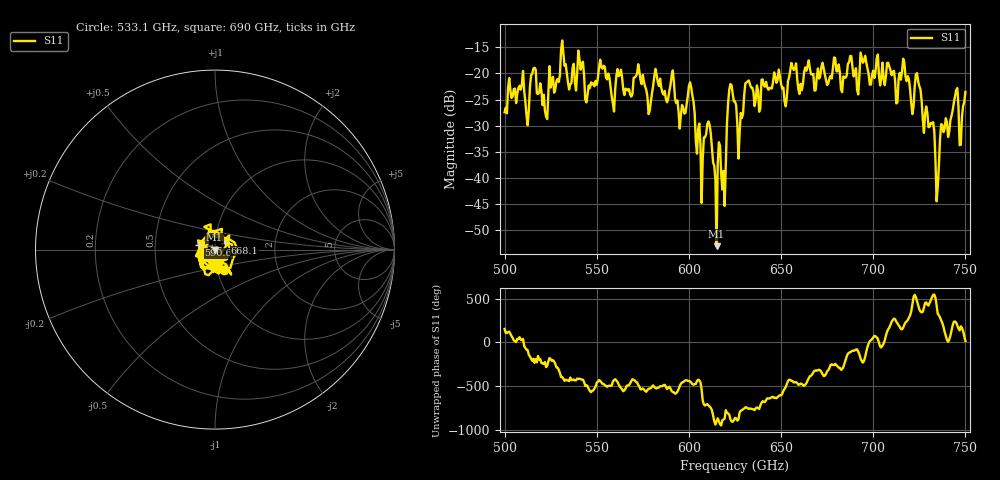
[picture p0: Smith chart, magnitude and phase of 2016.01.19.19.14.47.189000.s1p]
!Created with skrf (http://scikit-rf.org).
# GHz S RI R 50.0
!freq ReS11 ImS11
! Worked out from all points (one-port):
!   401 points, 500 GHz to 750 GHz, reference 50 ohm
!   lowest |S11| = -53.1 dB at 615 GHz (marker M1), VSWR 1.00, Z = 49.8 + j0.0195 ohm
!   |S11| at or under -10 dB: start of sweep to end of sweep
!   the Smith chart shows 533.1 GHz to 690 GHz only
!   S11 on the Smith chart (normalised r, x): 533.1 GHz: 1.08, -0.25; 590.6 GHz: 0.83, +0.05; 668.1 GHz: 1.12, +0.09; 690 GHz: 0.98, -0.20
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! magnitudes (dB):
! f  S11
! 500 GHz  -27.4
! 512.5 GHz  -29.9
! 515.6 GHz  -19.0
! 521.9 GHz  -27.1
! 531.2 GHz  -13.7
! 533.1 GHz  -18.2
! 562.5 GHz  -20.3
! 590.6 GHz  -20.5
! 593.8 GHz  -25.2
! 601.2 GHz  -22.7
! 605.6 GHz  -29.6
! 610.6 GHz  -29.2
! 615 GHz  -53.1
! 618.8 GHz  -38.7
! 622.5 GHz  -22.0
! 625 GHz  -25.4
! 627.5 GHz  -31.5
! 631.9 GHz  -21.5
! 651.9 GHz  -25.3
! 656.2 GHz  -18.8
! 668.1 GHz  -23.3
! 687.5 GHz  -16.6
! 690 GHz  -20.1
! 718.8 GHz  -20.5
! 724.4 GHz  -21.5
! 735 GHz  -41.8
! 738.1 GHz  -31.3
! 750 GHz  -23.5
